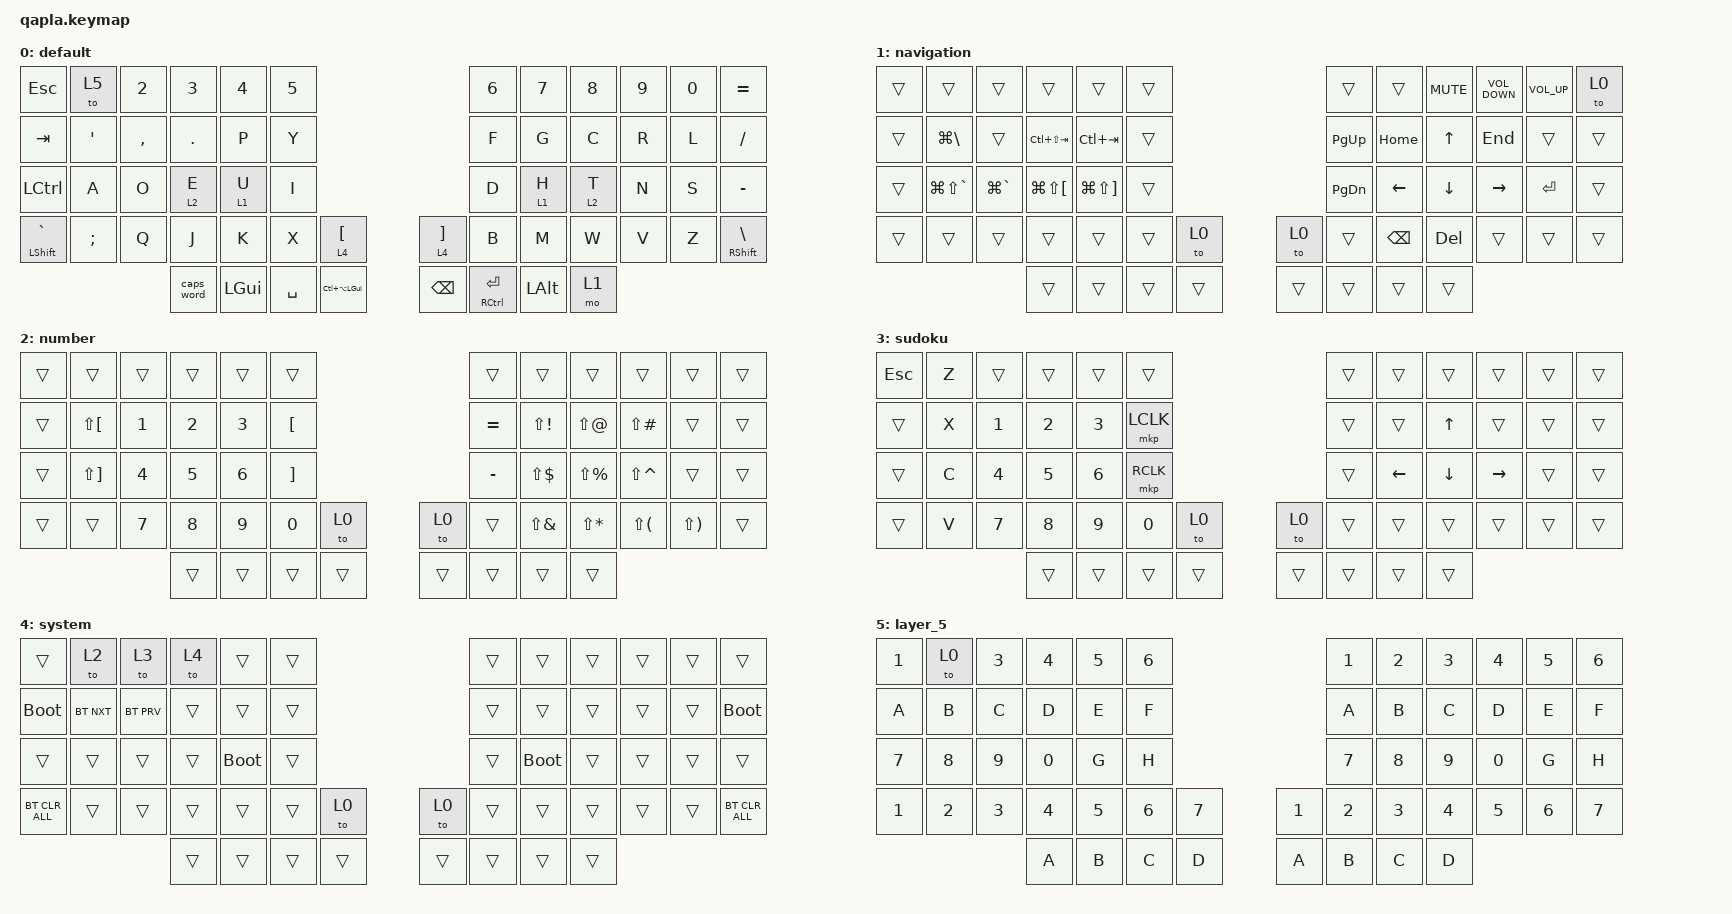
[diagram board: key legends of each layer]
#include <dt-bindings/zmk/mouse.h>
#include "key_labels.h"
#include <behaviors.dtsi>
#include <dt-bindings/zmk/bt.h>
#include <dt-bindings/zmk/keys.h>
#include <dt-bindings/zmk/pointing.h>

#define KEYS_L LT0 LT1 LT2 LT3 LT4 LT5 LH0 LH1 LH2 LH3 LH4 LH5 LB0 LB1 LB2 LB3 LB4 LB5
#define KEYS_R RT0 RT1 RT2 RT3 RT4 RT5 RH0 RH1 RH2 RH3 RH4 RH5 RB0 RB1 RB2 RB3 RB4 RB5

/ {
    behaviors {
        hllt: home_row_left_layer_tap {
            compatible = "zmk,behavior-hold-tap";
            #binding-cells = <2>;
            flavor = "balanced";
            tapping-term-ms = <280>;
            quick-tap-ms = <175>;                // repeat on tap-into-hold
            require-prior-idle-ms = <150>;
            bindings = <&mo>, <&kp>;

            hold-trigger-key-positions = <KEYS_R>;
            hold-trigger-on-release;
        };

        hrlt: home_row_right_layer_tap {
            compatible = "zmk,behavior-hold-tap";
            #binding-cells = <2>;
            flavor = "balanced";
            tapping-term-ms = <280>;
            quick-tap-ms = <175>;                // repeat on tap-into-hold
            require-prior-idle-ms = <150>;
            bindings = <&mo>, <&kp>;

            hold-trigger-key-positions = <KEYS_L>;
            hold-trigger-on-release;
        };
    };
};

/ {
    keymap {
        compatible = "zmk,keymap";

        default_layer {
            display-name = "default";
            bindings = <
&kp ESC           &to 5     &kp N2     &kp N3      &kp N4     &kp N5                                                &kp N6         &kp N7        &kp N8     &kp N9  &kp N0  &kp EQUAL
&kp TAB           &kp SQT   &kp COMMA  &kp DOT     &kp P      &kp Y                                                 &kp F          &kp G         &kp C      &kp R   &kp L   &kp SLASH
&kp LCTRL         &kp A     &kp O      &hllt 2 E   &hllt 1 U  &kp I                                                 &kp D          &hrlt 1 H     &hrlt 2 T  &kp N   &kp S   &kp MINUS
&mt LSHIFT GRAVE  &kp SEMI  &kp Q      &kp J       &kp K      &kp X      &lt 4 LEFT_BRACKET    &lt 4 RIGHT_BRACKET  &kp B          &kp M         &kp W      &kp V   &kp Z   &mt RSHIFT BACKSLASH
                                       &caps_word  &kp LGUI   &kp SPACE  &kp LC(LA(LGUI))      &kp BACKSPACE        &mt RCTRL RET  &kp LEFT_ALT  &mo 1
            >;
        };

        nav {
            display-name = "navigation";
            bindings = <
&trans  &trans             &trans         &trans            &trans            &trans                    &trans         &trans         &kp C_MUTE  &kp C_VOLUME_DOWN  &kp C_VOLUME_UP  &to 0
&trans  &kp LG(BACKSLASH)  &trans         &kp LC(LS(TAB))   &kp LC(TAB)       &trans                    &kp PAGE_UP    &kp HOME       &kp UP      &kp END            &trans           &trans
&trans  &kp LG(LS(GRAVE))  &kp LG(GRAVE)  &kp LG(LS(LBKT))  &kp LG(LS(RBKT))  &trans                    &kp PAGE_DOWN  &kp LEFT       &kp DOWN    &kp RIGHT          &kp RETURN       &trans
&trans  &trans             &trans         &trans            &trans            &trans  &to 0     &to 0   &trans         &kp BACKSPACE  &kp DELETE  &trans             &trans           &trans
                                          &trans            &trans            &trans  &trans    &trans  &trans         &trans         &trans
            >;
        };

        number {
            display-name = "number";
            bindings = <
&trans  &trans        &trans  &trans  &trans  &trans                      &trans     &trans        &trans         &trans         &trans        &trans
&trans  &kp LS(LBKT)  &kp N1  &kp N2  &kp N3  &kp LBKT                    &kp EQUAL  &kp LS(EXCL)  &kp LS(AT)     &kp LS(POUND)  &trans        &trans
&trans  &kp LS(RBKT)  &kp N4  &kp N5  &kp N6  &kp RBKT                    &kp MINUS  &kp LS(DLLR)  &kp LS(PRCNT)  &kp LS(CARET)  &trans        &trans
&trans  &trans        &kp N7  &kp N8  &kp N9  &kp N0    &to 0     &to 0   &trans     &kp LS(AMPS)  &kp LS(STAR)   &kp LS(LPAR)   &kp LS(RPAR)  &trans
                              &trans  &trans  &trans    &trans    &trans  &trans     &trans        &trans
            >;
        };

        sudoku {
            display-name = "sudoku";
            bindings = <
&kp ESC  &kp Z  &trans  &trans  &trans  &trans                       &trans  &trans    &trans    &trans     &trans  &trans
&trans   &kp X  &kp N1  &kp N2  &kp N3  &mkp LCLK                    &trans  &trans    &kp UP    &trans     &trans  &trans
&trans   &kp C  &kp N4  &kp N5  &kp N6  &mkp RCLK                    &trans  &kp LEFT  &kp DOWN  &kp RIGHT  &trans  &trans
&trans   &kp V  &kp N7  &kp N8  &kp N9  &kp N0     &to 0     &to 0   &trans  &trans    &trans    &trans     &trans  &trans
                        &trans  &trans  &trans     &trans    &trans  &trans  &trans    &trans
            >;
        };

        system {
            display-name = "system";
            bindings = <
&trans          &to 2       &to 3       &to 4   &trans       &trans                    &trans  &trans       &trans  &trans  &trans  &trans
&bootloader     &bt BT_NXT  &bt BT_PRV  &trans  &trans       &trans                    &trans  &trans       &trans  &trans  &trans  &bootloader
&trans          &trans      &trans      &trans  &bootloader  &trans                    &trans  &bootloader  &trans  &trans  &trans  &trans
&bt BT_CLR_ALL  &trans      &trans      &trans  &trans       &trans  &to 0     &to 0   &trans  &trans       &trans  &trans  &trans  &bt BT_CLR_ALL
                                        &trans  &trans       &trans  &trans    &trans  &trans  &trans       &trans
            >;
        };

        layer_5 {
            bindings = <
&kp N1  &to 0   &kp N3  &kp N4  &kp N5  &kp N6                    &kp N1  &kp N2  &kp N3  &kp N4  &kp N5  &kp N6
&kp A   &kp B   &kp C   &kp D   &kp E   &kp F                     &kp A   &kp B   &kp C   &kp D   &kp E   &kp F
&kp N7  &kp N8  &kp N9  &kp N0  &kp G   &kp H                     &kp N7  &kp N8  &kp N9  &kp N0  &kp G   &kp H
&kp N1  &kp N2  &kp N3  &kp N4  &kp N5  &kp N6  &kp N7    &kp N1  &kp N2  &kp N3  &kp N4  &kp N5  &kp N6  &kp N7
                        &kp A   &kp B   &kp C   &kp D     &kp A   &kp B   &kp C   &kp D
            >;
        };
    };
};
